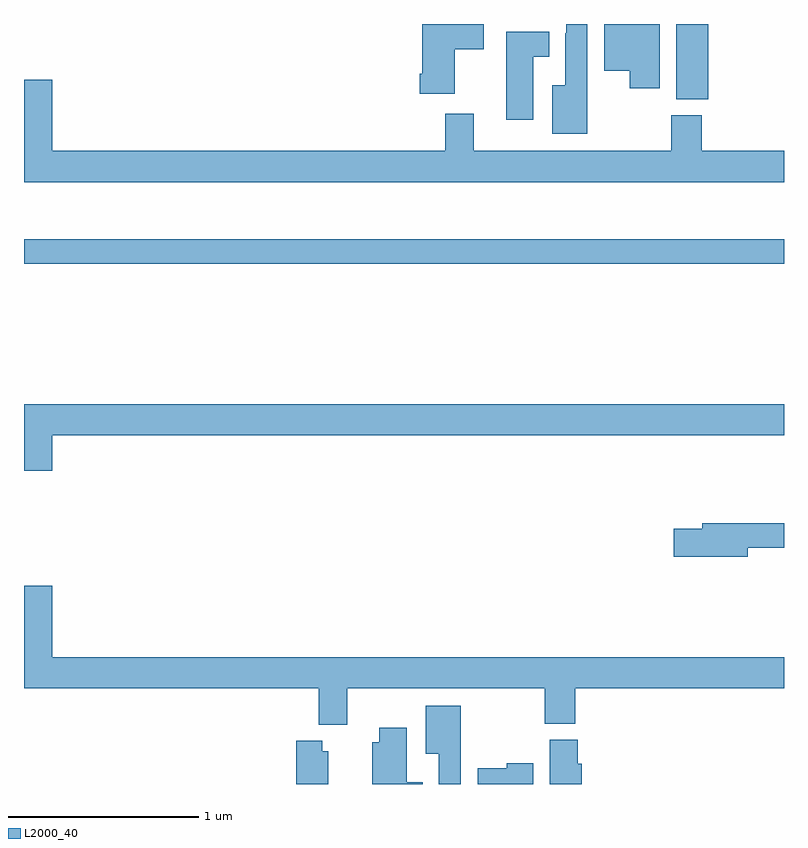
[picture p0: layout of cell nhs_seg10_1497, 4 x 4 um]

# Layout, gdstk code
import gdstk
lib = gdstk.Library(unit=1e-6, precision=1e-09)
def R(c, l, rs):  # rectangles x0, y0, x1, y1
    for r in rs: c.add(gdstk.rectangle(r[:2], r[2:], *l))
def P(c, l, *ps):  # polygons
    for p in ps: c.add(gdstk.Polygon(p, *l))
L2000_40 = (2000, 40)

nhs_seg10_1497 = lib.new_cell('nhs_seg10_1497')
R(nhs_seg10_1497, L2000_40, [(189,1281.238,193,1281.367), (192.434,1282.105,192.602,1282.5)])
P(nhs_seg10_1497, L2000_40, [(191.965,1282.5),(191.853,1282.5),(191.853,1282.451),(191.849,1282.451),(191.849,1282.177),(191.78,1282.177),(191.78,1281.923),(191.965,1281.923)],
  [(192.346,1282.5),(192.053,1282.5),(192.053,1282.253),(192.188,1282.253),(192.188,1282.161),(192.346,1282.161)],
  [(191.266,1282.366),(191.419,1282.366),(191.419,1282.5),(191.096,1282.5),(191.096,1282.237),(191.084,1282.237),(191.084,1282.133),(191.266,1282.133)],
  [(191.68,1282.328),(191.764,1282.328),(191.764,1282.459),(191.537,1282.459),(191.537,1281.996),(191.68,1281.996)],
  [(193,1281.832),(192.566,1281.832),(192.566,1282.02),(192.406,1282.02),(192.406,1281.832),(191.368,1281.832),(191.368,1282.027),(191.216,1282.027),(191.216,1281.832),(189.148,1281.832),(189.148,1282.207),(189,1282.207),(189,1281.668),(193,1281.668)],
  [(189.148,1280.336),(193,1280.336),(193,1280.5),(189,1280.5),(189,1280.148),(189.148,1280.148)],
  [(192.808,1279.744),(193,1279.744),(193,1279.873),(192.569,1279.873),(192.569,1279.844),(192.42,1279.844),(192.42,1279.697),(192.808,1279.697)],
  [(190.702,1279.004),(191.74,1279.004),(191.74,1278.817),(191.9,1278.817),(191.9,1279.004),(193,1279.004),(193,1279.168),(189.148,1279.168),(189.148,1279.543),(189,1279.543),(189,1279.004),(190.55,1279.004),(190.55,1278.812),(190.702,1278.812)],
  [(191.299,1278.913),(191.114,1278.913),(191.114,1278.659),(191.183,1278.659),(191.183,1278.5),(191.299,1278.5)],
  [(191.098,1278.508),(191.014,1278.508),(191.014,1278.796),(190.871,1278.796),(190.871,1278.721),(190.832,1278.721),(190.832,1278.5),(191.098,1278.5)],
  [(191.936,1278.606),(191.915,1278.606),(191.915,1278.732),(191.768,1278.732),(191.768,1278.5),(191.936,1278.5)],
  [(190.6,1278.673),(190.57,1278.673),(190.57,1278.727),(190.433,1278.727),(190.433,1278.5),(190.6,1278.5)],
  [(191.68,1278.61),(191.541,1278.61),(191.541,1278.583),(191.387,1278.583),(191.387,1278.5),(191.68,1278.5)])

lib.write_gds('nhs_seg10_1497.gds')
